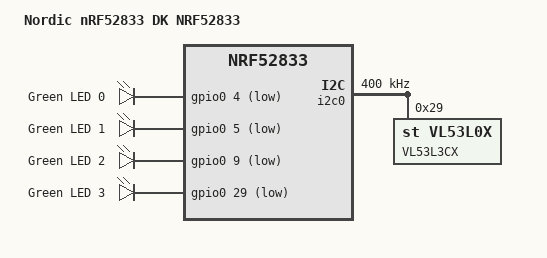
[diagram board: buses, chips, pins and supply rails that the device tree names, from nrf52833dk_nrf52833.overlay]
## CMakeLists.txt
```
cmake_minimum_required(VERSION 3.20.0)
find_package(Zephyr REQUIRED HINTS $ENV{ZEPHYR_BASE})

project(TOF_VL53L0X)

target_sources(app PRIVATE src/main.c)
```

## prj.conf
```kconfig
CONFIG_STDOUT_CONSOLE=y
CONFIG_I2C=y
CONFIG_GPIO=y
CONFIG_SENSOR=y
CONFIG_VL53L0X_PROXIMITY_THRESHOLD=100
CONFIG_PRINTK=y
CONFIG_DEBUG=y
CONFIG_LOG=y
CONFIG_SENSOR_LOG_LEVEL_DBG=y
CONFIG_CBPRINTF_FP_SUPPORT=y
CONFIG_VL53L0X=y
```

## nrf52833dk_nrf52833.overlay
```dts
&i2c0 {
    compatible = "nordic,nrf-twim";
    status = "okay";
    clock-frequency = <I2C_BITRATE_FAST>;
    zephyr,concat-buf-size = <4096>;

    vl53l0x: vl53l0x@29 {
        compatible = "st,vl53l0x";
        reg = <0x29>;
        label = "VL53L3CX";
    };

};
/* for node */

/ {
	model = "Nordic nRF52833 DK NRF52833";
    compatible = "nordic,nrf52833-dk-nrf52833";

	chosen {
		zephyr,console = &uart0;
		zephyr,shell-uart = &uart0;
		zephyr,uart-mcumgr = &uart0;
		zephyr,bt-mon-uart = &uart0;
		zephyr,bt-c2h-uart = &uart0;
		zephyr,sram = &sram0;
		zephyr,flash = &flash0;
		zephyr,code-partition = &slot0_partition;
	};

	leds {
		compatible = "gpio-leds";
		led0: led_0 {
			gpios = <&gpio0 4 GPIO_ACTIVE_LOW>;
			label = "Green LED 0";
		};
		led1: led_1 {
			gpios = <&gpio0 5 GPIO_ACTIVE_LOW>;
			label = "Green LED 1";
		};
		led2: led_2 {
			gpios = <&gpio0 9 GPIO_ACTIVE_LOW>;
			label = "Green LED 2";
		};
		led3: led_3 {
			gpios = <&gpio0 29 GPIO_ACTIVE_LOW>;
			label = "Green LED 3";
		};
	};
};
&pinctrl {
	uart0_default: uart0_default {
		group1 {
			psels = <NRF_PSEL(UART_TX, 0, 29)>, //6   for nrf52dk5832 / 5840
				<NRF_PSEL(UART_RX, 0, 28)>,   //8	  for nrf52dk5832
				<NRF_PSEL(UART_RTS, 0, 5)>,
				<NRF_PSEL(UART_CTS, 0, 7)>;
		};
	};

	uart0_sleep: uart0_sleep {
		group1 {
			psels = <NRF_PSEL(UART_TX, 0, 29)>,    //6
				<NRF_PSEL(UART_RX, 0, 28)>,        //8
				<NRF_PSEL(UART_RTS, 0, 5)>,
				<NRF_PSEL(UART_CTS, 0, 7)>;
			low-power-enable;
		};
	};
	i2c0_default: i2c0_default {
		group1 {
			psels = <NRF_PSEL(TWIM_SDA, 0, 2)>,  
				<NRF_PSEL(TWIM_SCL, 0, 3)>;      
		};
	};

	i2c0_sleep: i2c0_sleep {
		group1 {
			psels = <NRF_PSEL(TWIM_SDA, 0, 2)>,   
				<NRF_PSEL(TWIM_SCL, 0, 3)>;        
			low-power-enable;
		};
	};
};
```

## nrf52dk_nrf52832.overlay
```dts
&pinctrl {
    i2c0_default: i2c0_default {
        group1 {

            psels = <NRF_PSEL(TWIM_SDA, 0, 26)>,
                    <NRF_PSEL(TWIM_SCL, 0, 27)>;
        };
    };

    i2c0_sleep: i2c0_sleep {
        group1 {

            psels = <NRF_PSEL(TWIM_SDA, 0, 26)>,
                    <NRF_PSEL(TWIM_SCL, 0, 27)>;
            low-power-enable;
        };
    };

};

&i2c0 {
    compatible = "nordic,nrf-twim";
    status = "okay";
    clock-frequency = <I2C_BITRATE_FAST>;
    zephyr,concat-buf-size = <4096>;

    vl53l0x: vl53l0x@29 {
        compatible = "st,vl53l0x";
        reg = <0x29>;
        label = "VL53L3CX";
    };

};
```

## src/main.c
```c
/* Time Of Flight Sensor VL53L0X */

#include <zephyr/kernel.h>  
#include <zephyr/device.h>  
#include <zephyr/drivers/sensor.h>  
#include <stdio.h> 
#include <zephyr/sys/printk.h>  
#include <zephyr/drivers/i2c.h>  

// Define a macro to retrieve Device Tree instance
#define DT_INST(inst, compat) UTIL_CAT(DT_N_INST, DT_DASH(inst, compat))

// Define a macro to retrieve the node label for the I2C device
#define I2C0_NODE DT_NODELABEL(st_vl53l0x)

// Main function
int main(void)
{
    // Declare and initialize a variable to hold the I2C device
	const struct device *const dev = DEVICE_DT_GET_ANY(st_vl53l0x);

    // Declare variables for sensor readings and return values
	struct sensor_value value;
	int ret;

    // Check if the device is ready
	if (!device_is_ready(dev)) {
        // Print a message if the device is not ready and return
		printk("sensor: device not ready.\n");
		return 0;
	}

    // Infinite loop for continuous sensor reading
	while (1) {
        // Fetch sensor samples from the device
		ret = sensor_sample_fetch(dev);
        
        // Check if fetching sensor samples failed
		if (ret) {
            // Print an error message if fetching samples failed and return
			printk("sensor_sample_fetch failed ret %d\n", ret);
			return 0;
		}

        // Get proximity sensor data from the device
		ret = sensor_channel_get(dev, SENSOR_CHAN_PROX, &value);
        
        // Print the proximity sensor value
		printk("prox is %d\n", value.val1);

        // Get distance sensor data from the device
		ret = sensor_channel_get(dev, SENSOR_CHAN_DISTANCE, &value);

        // Print the distance sensor value in meters
		printf("distance is %.3fm\n", sensor_value_to_double(&value));

        // Convert meters to centimeters
		double distance_cm = sensor_value_to_double(&value) * 100.0;
        
        // Print the distance sensor value in centimeters
		printf("distance is %.3fcm\n", distance_cm);

        // Delay for 1 second before the next iteration
		k_sleep(K_MSEC(1000));
	}

    // End of main function
	return 0;
}
```
